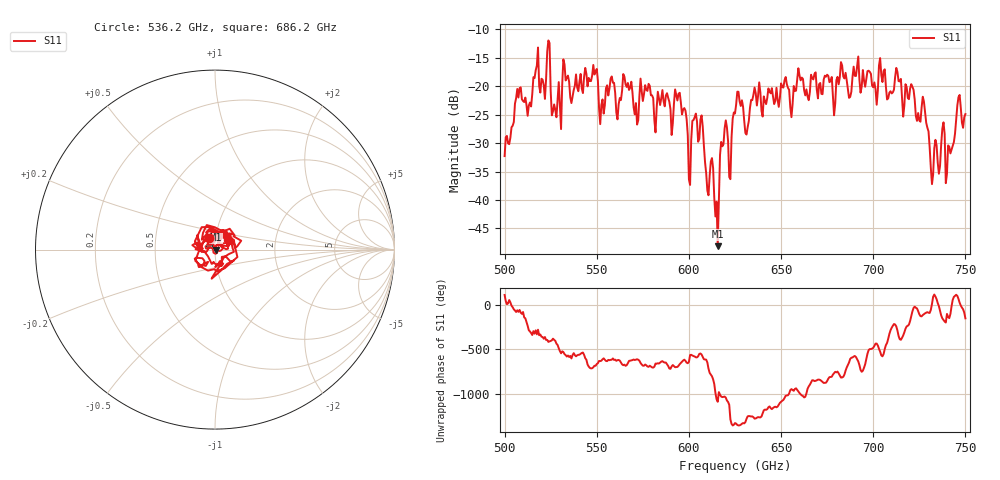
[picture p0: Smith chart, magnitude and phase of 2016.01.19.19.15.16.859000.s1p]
!Created with skrf (http://scikit-rf.org).
# GHz S RI R 50.0
!freq ReS11 ImS11
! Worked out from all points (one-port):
!   401 points, 500 GHz to 750 GHz, reference 50 ohm
!   lowest |S11| = -48.1 dB at 615.6 GHz (marker M1), VSWR 1.01, Z = 50.4 - j0.0505 ohm
!   |S11| at or under -10 dB: start of sweep to end of sweep
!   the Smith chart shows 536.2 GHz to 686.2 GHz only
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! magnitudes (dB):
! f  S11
! 500 GHz  -32.3
! 513.8 GHz  -22.8
! 516.9 GHz  -17.2
! 520.6 GHz  -18.8
! 523.8 GHz  -11.9
! 526.9 GHz  -23.2
! 531.2 GHz  -19.7
! 548.8 GHz  -17.9
! 552.5 GHz  -23.3
! 558.1 GHz  -18.3
! 562.5 GHz  -22.0
! 593.8 GHz  -22.5
! 600 GHz  -36.4
! 603.1 GHz  -25.4
! 606.9 GHz  -25.1
! 610 GHz  -38.3
! 615.6 GHz  -48.1
! 618.8 GHz  -30.2
! 622.5 GHz  -36.3
! 625 GHz  -24.8
! 656.2 GHz  -23.1
! 660 GHz  -18.1
! 687.5 GHz  -21.9
! 690.6 GHz  -18.2
! 718.8 GHz  -22.1
! 727.5 GHz  -22.7
! 731.9 GHz  -37.2
! 750 GHz  -24.9
